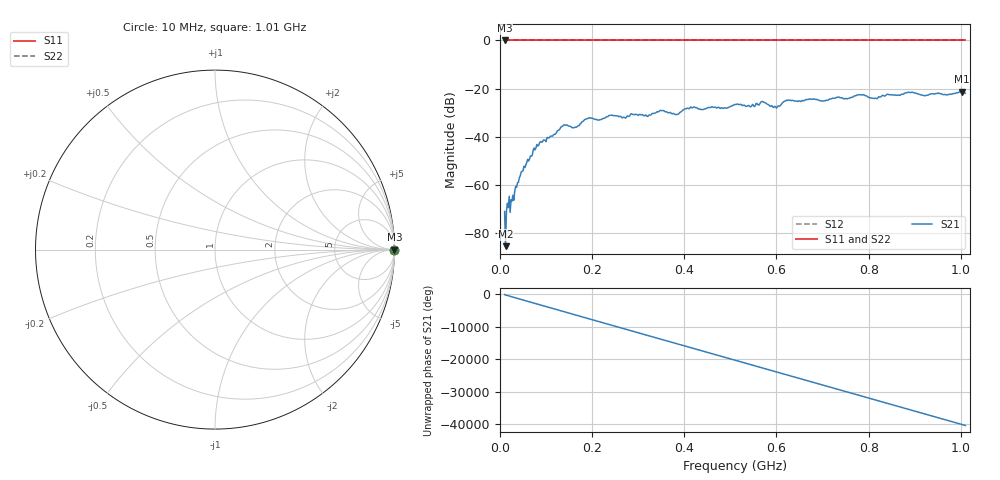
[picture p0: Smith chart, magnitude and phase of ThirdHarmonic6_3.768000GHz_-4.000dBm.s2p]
! 8/17/2025 12:57:39 PM
! C:\ANRITSUVNA\TEMP\TEMP.S2P
! CHANNEL.1
! TR.MEASUREMENT
! RAW.DATA
! RF.CORRECTION.OFF
! AVERAGING.OFF
! IF.BANDWIDTH: 5KHZ
! SWEEPTYPE:  FREQ.SWEEP(Linear)
! Reference Plane Port Info
! PORT:  PORT1  PORT2
! DISTANCE:  0  m  0  m
! TIME:  0  s  0  s
! PHASE.OFFSET:  0  deg.  0  deg.
! LOSS:  0  dB  0  dB
! REF.LOSS:  0  dB  0  dB
! REF.FREQ:  0  Hz  0  Hz
! Power Info
! POWER:  -20  dBm  -20  dBm
! EFF.POWER:  -20  dBm  -20  dBm
! SOURCE.ATTEN:  0  dB  0  dB
! TEST.ATTEN:  0  dB  0  dB
# GHZ S RI R 50.0
! FREQ.GHZ  S11RE  S11IM  S21RE  S21IM  S12RE  S12IM  S22RE  S22IM
!; PortSelection: Port_12
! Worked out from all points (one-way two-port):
!   501 points, 10 MHz to 1.01 GHz, reference 50 ohm
!   highest |S21| = -21.21 dB at 1.002 GHz (marker M1); lowest = -85.4 dB at 12 MHz (marker M2)
!   lowest |S11| = 0.0 dB at 10 MHz (marker M3)
!   |S11| at or under -10 dB: nowhere
!   |S22| runs from 0.0 to 0.0 dB; largest |S21 - S12| = 1.1
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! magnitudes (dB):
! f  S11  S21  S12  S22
! 10 MHz  0.0  -71.0  0.0  0.0
! 12 MHz  0.0  -85.4  0.0  0.0
! 20 MHz  0.0  -64.6  0.0  0.0
! 26 MHz  0.0  -66.7  0.0  0.0
! 48 MHz  0.0  -54.3  0.0  0.0
! 76 MHz  0.0  -45.4  0.0  0.0
! 136 MHz  0.0  -35.6  0.0  0.0
! 162 MHz  0.0  -36.1  0.0  0.0
! 178 MHz  0.0  -33.8  0.0  0.0
! 344 MHz  0.0  -29.6  0.0  0.0
! 384 MHz  0.0  -30.7  0.0  0.0
! 418 MHz  0.0  -27.9  0.0  0.0
! 510 MHz  0.0  -26.6  0.0  0.0
! 570 MHz  0.0  -25.3  0.0  0.0
! 598 MHz  0.0  -27.5  0.0  0.0
! 622 MHz  0.0  -24.8  0.0  0.0
! 678 MHz  0.0  -24.3  0.0  0.0
! 782 MHz  0.0  -22.5  0.0  0.0
! 814 MHz  0.0  -23.9  0.0  0.0
! 844 MHz  0.0  -22.5  0.0  0.0
! 1.002 GHz  0.0  -21.2  0.0  0.0
! 1.01 GHz  0.0  -21.9  0.0  0.0
